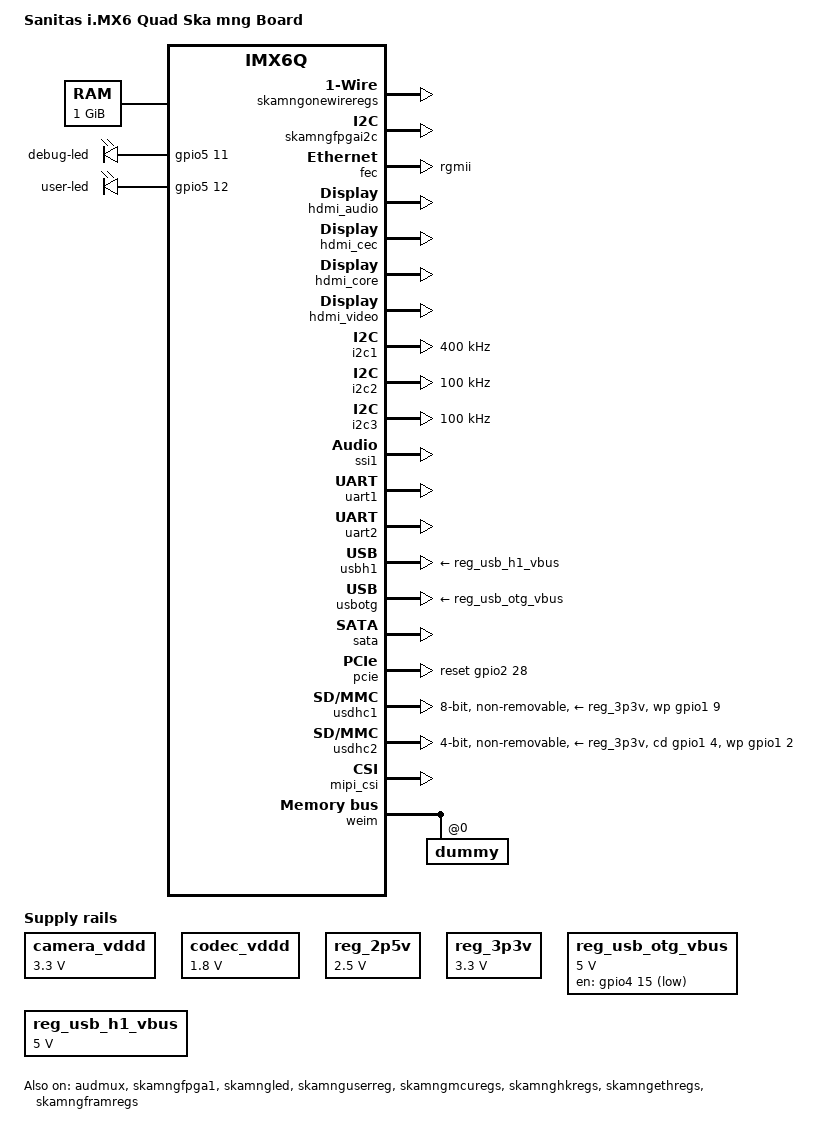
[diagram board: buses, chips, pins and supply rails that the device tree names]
/*
 * Copyright 2014-2015 Sanitas EG
 *
 * The code contained herein is licensed under the GNU General Public
 * License. You may obtain a copy of the GNU General Public License
 * Version 2 or later at the following locations:
 *
 * http://www.opensource.org/licenses/gpl-license.html
 * http://www.gnu.org/copyleft/gpl.html
 */

/* NAND_ALE = SD1_RST */

/* Missing configurations:
 - PMIC
 - PWM
*/

/dts-v1/;
#include "imx6q.dtsi"
#include "imx6qdl-ska-mng.dtsi"
/ {
	model = "Sanitas i.MX6 Quad Ska mng Board";
	compatible = "sanitas,imx6q-ska-mng", "fsl,imx6q";

	aliases {
		mxcfb0 = &mxcfb1;
		mxcfb1 = &mxcfb2;
	};

	memory {
		reg = <0x10000000 0x40000000>;
	};

	regulators {
		compatible = "simple-bus";

		camera_vddd: camera_3p3v	{
			compatible = "regulator-fixed";
			regulator-name = "camera_3P3V";
			regulator-min-microvolt = <3300000>;
			regulator-max-microvolt = <3300000>;
			regulator-always-on;
		};

		codec_vddd: codec_1p8v {
			compatible = "regulator-fixed";
			regulator-name = "codec_1P8V";
			regulator-min-microvolt = <1800000>;
			regulator-max-microvolt = <1800000>;
			regulator-always-on;
		};

		reg_2p5v: 2p5v {
			compatible = "regulator-fixed";
			regulator-name = "2P5V";
			regulator-min-microvolt = <2500000>;
			regulator-max-microvolt = <2500000>;
			regulator-always-on;
		};

		reg_3p3v: 3p3v {
			compatible = "regulator-fixed";
			regulator-name = "3P3V";
			regulator-min-microvolt = <3300000>;
			regulator-max-microvolt = <3300000>;
			regulator-always-on;
		};

		reg_usb_otg_vbus: usb_otg_vbus {
			compatible = "regulator-fixed";
			regulator-name = "usb_otg_vbus";
			regulator-min-microvolt = <5000000>;
			regulator-max-microvolt = <5000000>;
			gpio = <&gpio4 15 0>; /* KEY_ROW4 */
			enable-active-low; /* LM3526 !EN*/
		};
		
		reg_usb_h1_vbus: usb_h1_vbus {
			compatible = "regulator-fixed";
			regulator-name = "usb_h1_vbus";
			regulator-min-microvolt = <5000000>;
			regulator-max-microvolt = <5000000>;
		};
	};

	leds {
		compatible = "gpio-leds";

		debug-led {
			gpios = <&gpio5 11 0>;
			linux,default-trigger = "heartbeat";
		};

		user-led {
			gpios = <&gpio5 12 0>;
			linux,default-trigger = "oneshot";
		};
	};
	
	

	sound-hdmi {
		compatible = "fsl,imx6q-audio-hdmi", "fsl,imx-audio-hdmi";
		model = "imx-audio-hdmi";
		hdmi-controller = <&hdmi_audio>;
	};
	
	mxcfb1: fb@0 {
		compatible = "fsl,mxc_sdc_fb";
		disp_dev = "hdmi";
		interface_pix_fmt = "RGB24";
		mode_str ="1920x1080M@60";
		default_bpp = <24>;
		int_clk = <0>;
		late_init = <0>;
		status = "okay";
	};

	mxcfb2: fb@1 {
		compatible = "fsl,mxc_sdc_fb";
		disp_dev = "ldb";
		interface_pix_fmt = "RGB666";
		mode_str ="LDB-XGA";
		default_bpp = <16>;
		int_clk = <0>;
		late_init = <0>;
		status = "disabled";
	};

   	v4l2_out {
		compatible = "fsl,mxc_v4l2_output";
		status = "okay";
	};


	skamngfpga1: skamngfpga@08000000 {
	   compatible = "sanitas,ska-mng-fpga";
	   reg = <0x08000000 0x10>;
	   status = "okay";
	};
	
    skamngled: skamngled@08000400 {
    compatible = "sanitas,ska-mng-led";
    reg = <0x08000400 0x10>;
    status = "okay";     
    };
	
    skamnguserreg: skamnguserreg@08000a00 {
    compatible = "sanitas,ska-mng-userreg";
    reg = <0x08000a00 0x10>;
    status = "okay";     
    };

    skamngonewireregs: skamngmonewireregs@080B0000 {
    compatible = "sanitas,ska-mng-onewireregs";
    reg = <0x080B0000 0x18>;
    status = "okay";     
    };

    skamngmcuregs: skamngmcuregs@08030000 {
    compatible = "sanitas,ska-mng-mcuregs";
    reg = <0x08030000 0x304>;
    status = "okay";     
    };
    
    skamnghkregs: skamnghkregs@08000500 {
    compatible = "sanitas,ska-mng-hkregs";
    reg = <0x08000500 0x200>;
    status = "okay";     
    };
    
    skamngethregs: skamngethregs@08000100 {
    compatible = "sanitas,ska-mng-ethregs";
    reg = <0x08000100 0x204>;
    status = "okay";     
    };

    skamngframregs: skamngframregs@08090000 {
    compatible = "sanitas,ska-mng-framregs";
    reg = <0x08090000 0x36C>;
    status = "okay";     
    };
    
    skamngfpgai2c: skamngfpgai2c@08010000{
    compatible = "sanitas,ska-mng-fpga-i2c";
    reg = <0x08010000 0x200>;
    status = "okay";     
    };

	
};





&mxcfb1 { /* ##OK */
	status = "okay";
};

&audmux { /* ##OK */
	status = "okay";
	pinctrl-names = "default";
	pinctrl-0 = <&pinctrl_audmux_6>;
};

&ecspi3 { /* There are no devices connected, so we disable it */ /* ##OK */ 
	fsl,spi-num-chipselects = <4>;
	cs-gpios = <&gpio4 24 0>; /* SS0 */ /* Also set in HOG */
	cs-gpios = <&gpio4 25 0>; /* SS1 */ /* Also set in HOG */
	cs-gpios = <&gpio4 26 0>; /* SS2 */ /* Also set in HOG */
	cs-gpios = <&gpio4 27 0>; /* SS3 */ /* Also set in HOG */
	pinctrl-names = "default";
	pinctrl-0 = <&pinctrl_ecspi3_2>;
	status = "disabled";
};



&fec {
		compatible = "fsl,imx6q-fec";
		pinctrl-names = "default";
		pinctrl-0 = <&pinctrl_enet_4>;
		phy-mode = "rgmii"; 
		fixed-link = <0 1 1000 0 0>;
		status = "okay";
};




&hdmi_audio { /* ##OK */
	status = "okay";
};

&hdmi_cec { /* ##OK */
	pinctrl-names = "default";
	pinctrl-0 = <&pinctrl_hdmi_cec_1>;
	status = "ok"; /* For now... As I don't know exactly what does it do... */
};

&ldb { /* ##OK */
	ipu_id = <1>;
	disp_id = <1>;
	ext_ref = <1>;
	mode = "sep1";
	sec_ipu_id = <1>;
	sec_disp_id = <0>;
	status = "disabled";
};

&hdmi_core { /* ##OK */
	ipu_id = <0>;
	disp_id = <0>;
	status = "okay";
};

&hdmi_video { /* ##OK */
	fsl,phy_reg_vlev = <0x0294>;    /* Magic values... */
	fsl,phy_reg_cksymtx = <0x800d>; /* Magic values... */
	status = "okay";
};

&i2c1 { /* ##OK */
	status = "okay";
	clock-frequency = <400000>;
	pinctrl-names = "default";
	pinctrl-0 = <&pinctrl_i2c1_1>;

};

&i2c2 { /* ##OK */
	clock-frequency = <100000>;
	pinctrl-names = "default";
	pinctrl-0 = <&pinctrl_i2c2_1>;
	status = "okay";

};


&i2c3 {  
	status = "ok";
	clock-frequency = <100000>;
	pinctrl-names = "default";
	pinctrl-0 = <&pinctrl_i2c3_1>;
	
};

&iomuxc {
	pinctrl-names = "default";
	pinctrl-0 = <&pinctrl_hog>;

	hog {
		pinctrl_hog: hoggrp {
			fsl,pins = <
				MX6QDL_PAD_GPIO_0__CCM_CLKO1    		0x130b0 	/* AUDIO_CLK: ST, 100k PD, PUSH-PULL, PULL&KEEP, 40ohm, SLOW */
			    MX6QDL_PAD_KEY_COL4__USB_OTG_OC 		0x1b0b0 	/* OTG_OC: ST, 100k PU, PUSH-PULL, PULL&KEEP, 40ohm, SLOW */
			    /*MX6QDL_PAD_KEY_ROW1__ECSPI1_SS0 		0x80000000 */ /* SPI Flash CS */ /* Note: Is this redundant? */
				MX6QDL_PAD_DISP0_DAT3__ECSPI3_SS0		0x80000000	/* SPI Flash CS */ /* Note: Is this redundant? */
				MX6QDL_PAD_DISP0_DAT4__ECSPI3_SS1		0x80000000	/* SPI Flash CS */ /* Note: Is this redundant? */
				MX6QDL_PAD_DISP0_DAT5__ECSPI3_SS2		0x80000000	/* SPI Flash CS */ /* Note: Is this redundant? */
				MX6QDL_PAD_DISP0_DAT6__ECSPI3_SS3		0x80000000	/* SPI Flash CS */ /* Note: Is this redundant? */
				
				/*MX6QDL_PAD_DISP0_DAT20__ECSPI1_SCLK 	0x80000000
				MX6QDL_PAD_DISP0_DAT21__ECSPI1_MOSI 	0x80000000
				
				MX6QDL_PAD_DISP0_DAT22__ECSPI1_MISO 	0x80000000
				*/
				/*MX6QDL_PAD_GPIO_16__ENET_REF_CLK      0x80000000
				MX6QDL_PAD_ENET_REF_CLK__ENET_TX_CLK  0x80000000*/
				MX6QDL_PAD_ENET_MDIO__GPIO1_IO22		0x80000000 /* */
				/* MX6QDL_PAD_ENET_REF_CLK__GPIO1_IO23 	0x80000000 */ /* */
				
                MX6QDL_PAD_DISP0_DAT17__GPIO5_IO11      0x0001B0B0 /*LED 1*/
				MX6QDL_PAD_DISP0_DAT18__GPIO5_IO12      0x0001B0B0 /*LED 2*/
				
				MX6QDL_PAD_ENET_CRS_DV__GPIO1_IO25		0x110b0    /* LED 1 */
				MX6QDL_PAD_ENET_RXD1__GPIO1_IO26		0x110b0    /* LED 2 */
				MX6QDL_PAD_ENET_RXD0__GPIO1_IO27		0x80000000 /* */
				MX6QDL_PAD_ENET_TX_EN__GPIO1_IO28		0x80000000 /* */

				MX6QDL_PAD_SD4_DAT1__GPIO2_IO09			0x80000000 /* */
				MX6QDL_PAD_SD4_DAT3__GPIO2_IO11			0x80000000 /* */
				MX6QDL_PAD_SD4_DAT4__GPIO2_IO12			0x80000000 /* */
				MX6QDL_PAD_SD4_DAT7__GPIO2_IO15			0x80000000 /* */
				/* MX6QDL_PAD_EIM_EB0__GPIO2_IO28		0x80000000  */ /* PCIe_RST */
				MX6QDL_PAD_EIM_EB1__GPIO2_IO29			0x80000000 /* */
				MX6QDL_PAD_EIM_EB3__GPIO2_IO31			0x80000000 /* */ 

				MX6QDL_PAD_EIM_D22__GPIO3_IO22			0x80000000 /* */
				MX6QDL_PAD_EIM_D23__GPIO3_IO23			0x80000000 /* */
				MX6QDL_PAD_EIM_D26__GPIO3_IO26			0x80000000 /* */
				MX6QDL_PAD_EIM_D27__GPIO3_IO27			0x80000000 /* */

				MX6QDL_PAD_GPIO_19__GPIO4_IO05			0x80000000 /* SPIWP */
				MX6QDL_PAD_DI0_DISP_CLK__GPIO4_IO16		0x80000000 /* AUDIO_JACK */

				MX6QDL_PAD_DISP0_DAT11__GPIO5_IO05		0x80000000 /* */
				MX6QDL_PAD_DISP0_DAT12__GPIO5_IO06		0x80000000 /* */
				MX6QDL_PAD_DISP0_DAT14__GPIO5_IO08		0x80000000 /* */
				MX6QDL_PAD_DISP0_DAT15__GPIO5_IO09		0x80000000 /* */
				MX6QDL_PAD_DISP0_DAT16__GPIO5_IO10		0x80000000 /* */
				//MX6QDL_PAD_DISP0_DAT17__GPIO5_IO11		0x80000000 /* */
				//MX6QDL_PAD_DISP0_DAT18__GPIO5_IO12		0x80000000 /* */
				MX6QDL_PAD_DISP0_DAT19__GPIO5_IO13		0x80000000 /* */
				MX6QDL_PAD_DISP0_DAT23__GPIO5_IO17		0x80000000 /* */

				MX6QDL_PAD_NANDF_ALE__GPIO6_IO08		0x80000000 /* SD1_RST */
				MX6QDL_PAD_NANDF_WP_B__GPIO6_IO09		0x80000000 /* */
				MX6QDL_PAD_NANDF_CS1__GPIO6_IO14		0x80000000 /* */
				MX6QDL_PAD_NANDF_CS2__GPIO6_IO15		0x80000000 /* */
				MX6QDL_PAD_NANDF_CS3__GPIO6_IO16		0x80000000 /* */

				MX6QDL_PAD_SD3_DAT5__GPIO7_IO00			0x80000000 /* */
				MX6QDL_PAD_SD3_DAT4__GPIO7_IO01			0x80000000 /* */
				MX6QDL_PAD_SD3_CLK__GPIO7_IO03			0x80000000 /* */
				MX6QDL_PAD_SD3_DAT2__GPIO7_IO06			0x80000000 /* */
				MX6QDL_PAD_SD3_DAT3__GPIO7_IO07			0x80000000 /* */
				MX6QDL_PAD_SD3_RST__GPIO7_IO08			0x80000000 /* */
				MX6QDL_PAD_GPIO_17__GPIO7_IO12			0x80000000 /* LVDS_TCH */
				
				MX6QDL_PAD_CSI0_DAT4__IPU1_CSI0_DATA04   0x80000000
                MX6QDL_PAD_CSI0_DAT5__IPU1_CSI0_DATA05   0x80000000
                MX6QDL_PAD_CSI0_DAT6__IPU1_CSI0_DATA06   0x80000000
                MX6QDL_PAD_CSI0_DAT7__IPU1_CSI0_DATA07   0x80000000
                MX6QDL_PAD_CSI0_DAT8__IPU1_CSI0_DATA08   0x80000000
                MX6QDL_PAD_CSI0_DAT9__IPU1_CSI0_DATA09   0x80000000
                MX6QDL_PAD_CSI0_DAT10__IPU1_CSI0_DATA10  0x80000000
                MX6QDL_PAD_CSI0_DAT11__IPU1_CSI0_DATA11  0x80000000
                MX6QDL_PAD_CSI0_DAT12__IPU1_CSI0_DATA12  0x80000000
                MX6QDL_PAD_CSI0_DAT13__IPU1_CSI0_DATA13  0x80000000
                MX6QDL_PAD_CSI0_DAT14__IPU1_CSI0_DATA14  0x80000000
                MX6QDL_PAD_CSI0_DAT15__IPU1_CSI0_DATA15  0x80000000
                MX6QDL_PAD_CSI0_DAT16__IPU1_CSI0_DATA16  0x80000000
                MX6QDL_PAD_CSI0_DAT17__IPU1_CSI0_DATA17  0x80000000
                MX6QDL_PAD_CSI0_DAT18__IPU1_CSI0_DATA18  0x80000000
                MX6QDL_PAD_CSI0_DAT19__IPU1_CSI0_DATA19  0x80000000
                MX6QDL_PAD_CSI0_PIXCLK__IPU1_CSI0_PIXCLK 0x80000000
                MX6QDL_PAD_CSI0_MCLK__IPU1_CSI0_HSYNC    0x80000000
                MX6QDL_PAD_CSI0_VSYNC__IPU1_CSI0_VSYNC   0x80000000
				>;
		};
	};
};

&ssi1 { /* ##OK */
	fsl,mode = "i2s-slave";
	status = "okay";
};

&uart1 { /* ##OK */
	status = "okay";
	pinctrl-names = "default";
	pinctrl-0 = <&pinctrl_uart1_2>;
};


&uart2 { /* ##OK */
	status = "okay";
	pinctrl-names = "default";
	pinctrl-0 = <&pinctrl_uart2_3>;
};


&usbh1 { /* ##OK */
	status = "okay";
	vbus-supply = <&reg_usb_h1_vbus>;
};

&usbotg { /* ##OK */
	vbus-supply = <&reg_usb_otg_vbus>;
	pinctrl-names = "default";
	pinctrl-0 = <&pinctrl_usbotg_2>;
	/* disable-over-current; */ /* The Pinmux has been configured... Why must we keep it disabled? */
	status = "okay";
};

&sata { /* ##OK */
	status = "okay";
};

&pcie { /* ##OK */
	reset-gpio = <&gpio2 28 0>;
    status = "okay";
};

&usdhc1 { /* eMMC */ /* ##OK */
	pinctrl-names = "default";
	pinctrl-0 = <&pinctrl_usdhc1_2>;
	non-removable;
	/* cd-gpios = <&gpio1 1 0>; */
	/* cd-inverted; */
	wp-gpios = <&gpio1 9 0>;
	vmmc-supply = <&reg_3p3v>;
	bus-width = <8>;
	status = "okay";
};

&usdhc2 { /* uSD PCB Edge */ /* ##OK */
	pinctrl-names = "default";
	pinctrl-0 = <&pinctrl_usdhc2_2>;
	non-removable;
	cd-gpios = <&gpio1 4 GPIO_ACTIVE_LOW>;
	fsl,cd-controller;
	cd-inverted;
	wp-gpios = <&gpio1 2 GPIO_ACTIVE_HIGH>;
	vmmc-supply = <&reg_3p3v>;
	bus-width = <4>;
	status = "okay";
};

&gpmi { /* DO NOT ENABLE */ /* ##OK */
	status = "disable";
};

&mipi_csi {
	status = "okay";
	ipu_id = <0>;
	csi_id = <1>;
	v_channel = <1>;
	lanes = <4>;
	pll = <0x0000002c>; /* 2C 46 */
	isr = <0x00000001>;
    /* clocks = <&clks IMX6QDL_CLK_EMI_SEL>, <&clks IMX6QDL_CLK_EMI_SEL>, <&clks IMX6QDL_CLK_VIDEO_27M>; */
    /* clock-names = "dphy_clk", "pixel_clk", "cfg_clk"; */
};

&weim {
	pinctrl-names = "default";
	pinctrl-0 = <&pinctrl_weim_ska_mng_1 &pinctrl_weim_cs0_1 &pinctrl_weim_cs1_1>;
	#address-cells = <2>;
	#size-cells = <1>;
	ranges = <0 0 0x08000000 0x04000000>;
/*	ranges = <1 0 0x0C000000 0x04000000>; */

	status = "okay";
	
/*	testingbase = <0x08000800>; */
	
	dummy@0,0 {
		reg = <0 0 0x04000000>;
		/*fsl,weim-cs-timing = <0x00610089 0x00001002 0x1c022000 0x00000000 0x1c092480 0x00000000>;*/
		fsl,weim-cs-timing = <0x0061308F 0x00001000 0x01022000 0x00000000 0x41041041 0x00000000>;
	};
};


